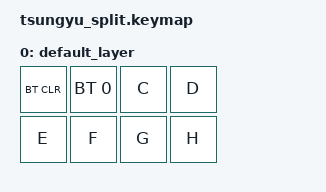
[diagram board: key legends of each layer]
// This file was generated from a template. Edit it to match your keyboard.
// See https://zmk.dev/docs/development/hardware-integration/new-shield for more instructions.

#include <behaviors.dtsi>
#include <dt-bindings/zmk/keys.h>
#include <dt-bindings/zmk/bt.h>

/ {
    // Define a default keymap here.
    // See https://zmk.dev/docs/development/hardware-integration/new-shield#default-keymap.
    keymap {
        compatible = "zmk,keymap";

        default_layer {
            bindings = <
                &bt BT_CLR  &bt BT_SEL 0     &kp C  &kp D
                &kp E  &kp F     &kp G  &kp H
            >;
        };
    };
};
